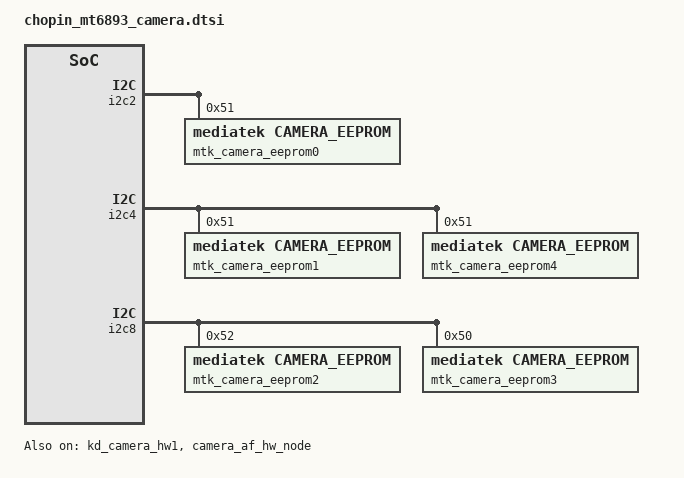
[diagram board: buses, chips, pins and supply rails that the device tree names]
/*
 * Copyright (C) 2015 MediaTek Inc.
 *
 * This program is free software: you can redistribute it and/or modify
 * it under the terms of the GNU General Public License version 2 as
 * published by the Free Software Foundation.
 *
 * This program is distributed in the hope that it will be useful,
 * but WITHOUT ANY WARRANTY; without even the implied warranty of
 * MERCHANTABILITY or FITNESS FOR A PARTICULAR PURPOSE. See the
 * GNU General Public License for more details.
 */

/*
 * Chopin Camera System - Ported from Stock DTBO
 * Complete kd_camera_hw1 fragment with proper sensor configurations
 */

&odm {
	thermal_rename = "charger_therm";
};

&mt_pmic_vcamio_ldo_reg {
	regulator-default-on = <1>;
	status = "okay";
};

/* CAMERA GPIO STANDARDIZATION - Stock Chopin Fragment@25 */
&pio {
	/* CAMERA PINS - GPIO mappings from stock Chopin DTBO */
	camera_pins_cam0_rst_0: cam0_rst0 {
		pins_cmd_dat {
			pinmux = <PINMUX_GPIO145__FUNC_GPIO145>;
			slew-rate = <1>;
			output-low;
		};
	};

	camera_pins_cam0_rst_1: cam0_rst1 {
		pins_cmd_dat {
			pinmux = <PINMUX_GPIO145__FUNC_GPIO145>;
			slew-rate = <1>;
			output-high;
		};
	};

	camera_pins_cam0_pnd_0: cam0_pnd0 {
		pins_cmd_dat {
			pinmux = <PINMUX_GPIO133__FUNC_GPIO133>;
			slew-rate = <1>;
			output-low;
		};
	};

	camera_pins_cam0_pnd_1: cam0_pnd1 {
		pins_cmd_dat {
			pinmux = <PINMUX_GPIO133__FUNC_GPIO133>;
			slew-rate = <1>;
			output-high;
		};
	};

	camera_pins_cam1_rst_0: cam1_rst0 {
		pins_cmd_dat {
			pinmux = <PINMUX_GPIO131__FUNC_GPIO131>;
			slew-rate = <1>;
			output-low;
		};
	};

	camera_pins_cam1_rst_1: cam1_rst1 {
		pins_cmd_dat {
			pinmux = <PINMUX_GPIO131__FUNC_GPIO131>;
			slew-rate = <1>;
			output-high;
		};
	};

	camera_pins_cam1_pnd_0: cam1_pnd0 {
		pins_cmd_dat {
			pinmux = <PINMUX_GPIO133__FUNC_GPIO133>;
			slew-rate = <1>;
			output-low;
		};
	};

	camera_pins_cam1_pnd_1: cam1_pnd1 {
		pins_cmd_dat {
			pinmux = <PINMUX_GPIO133__FUNC_GPIO133>;
			slew-rate = <1>;
			output-high;
		};
	};

	camera_pins_cam2_rst_0: cam2_rst0 {
		pins_cmd_dat {
			pinmux = <PINMUX_GPIO130__FUNC_GPIO130>;
			slew-rate = <1>;
			output-low;
		};
	};

	camera_pins_cam2_rst_1: cam2_rst1 {
		pins_cmd_dat {
			pinmux = <PINMUX_GPIO130__FUNC_GPIO130>;
			slew-rate = <1>;
			output-high;
		};
	};

	camera_pins_cam2_pnd_0: cam2_pnd0 {
		pins_cmd_dat {
			pinmux = <PINMUX_GPIO147__FUNC_GPIO147>;
			slew-rate = <1>;
			output-low;
		};
	};

	camera_pins_cam2_pnd_1: cam2_pnd1 {
		pins_cmd_dat {
			pinmux = <PINMUX_GPIO147__FUNC_GPIO147>;
			slew-rate = <1>;
			output-high;
		};
	};

	camera_pins_cam3_rst_0: cam3_rst0 {
		pins_cmd_dat {
			pinmux = <PINMUX_GPIO144__FUNC_GPIO144>;
			slew-rate = <1>;
			output-low;
		};
	};

	camera_pins_cam3_rst_1: cam3_rst1 {
		pins_cmd_dat {
			pinmux = <PINMUX_GPIO144__FUNC_GPIO144>;
			slew-rate = <1>;
			output-high;
		};
	};

	camera_pins_cam3_pnd_0: cam3_pnd0 {
		pins_cmd_dat {
			pinmux = <PINMUX_GPIO133__FUNC_GPIO133>;
			slew-rate = <1>;
			output-low;
		};
	};

	camera_pins_cam3_pnd_1: cam3_pnd1 {
		pins_cmd_dat {
			pinmux = <PINMUX_GPIO133__FUNC_GPIO133>;
			slew-rate = <1>;
			output-high;
		};
	};

	camera_pins_cam4_rst_0: cam4_rst0 {
		pins_cmd_dat {
			pinmux = <PINMUX_GPIO133__FUNC_GPIO133>;
			slew-rate = <1>;
			output-low;
		};
	};

	camera_pins_cam4_rst_1: cam4_rst1 {
		pins_cmd_dat {
			pinmux = <PINMUX_GPIO133__FUNC_GPIO133>;
			slew-rate = <1>;
			output-high;
		};
	};

	camera_pins_cam4_pnd_0: cam4_pnd0 {
		pins_cmd_dat {
			pinmux = <PINMUX_GPIO133__FUNC_GPIO133>;
			slew-rate = <1>;
			output-low;
		};
	};

	camera_pins_cam4_pnd_1: cam4_pnd1 {
		pins_cmd_dat {
			pinmux = <PINMUX_GPIO133__FUNC_GPIO133>;
			slew-rate = <1>;
			output-high;
		};
	};

	camera_pins_cam0_vcamd_0: cam0_vcamd0 {
		pins_cmd_dat {
			pinmux = <PINMUX_GPIO133__FUNC_GPIO133>;
			slew-rate = <1>;
			output-low;
		};
	};

	camera_pins_cam0_vcamd_1: cam0_vcamd1 {
		pins_cmd_dat {
			pinmux = <PINMUX_GPIO133__FUNC_GPIO133>;
			slew-rate = <1>;
			output-high;
		};
	};

	camera_pins_cam0_vcama_0: cam0_vcama0 {
		pins_cmd_dat {
			pinmux = <PINMUX_GPIO133__FUNC_GPIO133>;
			slew-rate = <1>;
			output-low;
		};
	};

	camera_pins_cam0_vcama_1: cam0_vcama1 {
		pins_cmd_dat {
			pinmux = <PINMUX_GPIO133__FUNC_GPIO133>;
			slew-rate = <1>;
			output-high;
		};
	};

	camera_pins_cam1_vcamd_0: cam1_vcamd0 {
		pins_cmd_dat {
			pinmux = <PINMUX_GPIO133__FUNC_GPIO133>;
			slew-rate = <1>;
			output-low;
		};
	};

	camera_pins_cam1_vcamd_1: cam1_vcamd1 {
		pins_cmd_dat {
			pinmux = <PINMUX_GPIO133__FUNC_GPIO133>;
			slew-rate = <1>;
			output-high;
		};
	};

	camera_pins_cam1_vcama_0: cam1_vcama0 {
		pins_cmd_dat {
			pinmux = <PINMUX_GPIO133__FUNC_GPIO133>;
			slew-rate = <1>;
			output-low;
		};
	};

	camera_pins_cam1_vcama_1: cam1_vcama1 {
		pins_cmd_dat {
			pinmux = <PINMUX_GPIO133__FUNC_GPIO133>;
			slew-rate = <1>;
			output-high;
		};
	};

	camera_pins_cam2_vcamd_0: cam2_vcamd0 {
		pins_cmd_dat {
			pinmux = <PINMUX_GPIO133__FUNC_GPIO133>;
			slew-rate = <1>;
			output-low;
		};
	};

	camera_pins_cam2_vcamd_1: cam2_vcamd1 {
		pins_cmd_dat {
			pinmux = <PINMUX_GPIO133__FUNC_GPIO133>;
			slew-rate = <1>;
			output-high;
		};
	};

	camera_pins_cam2_vcama_0: cam2_vcama0 {
		pins_cmd_dat {
			pinmux = <PINMUX_GPIO133__FUNC_GPIO133>;
			slew-rate = <1>;
			output-low;
		};
	};

	camera_pins_cam2_vcama_1: cam2_vcama1 {
		pins_cmd_dat {
			pinmux = <PINMUX_GPIO133__FUNC_GPIO133>;
			slew-rate = <1>;
			output-high;
		};
	};

	camera_pins_cam3_vcamd_0: cam3_vcamd0 {
		pins_cmd_dat {
			pinmux = <PINMUX_GPIO133__FUNC_GPIO133>;
			slew-rate = <1>;
			output-low;
		};
	};

	camera_pins_cam3_vcamd_1: cam3_vcamd1 {
		pins_cmd_dat {
			pinmux = <PINMUX_GPIO133__FUNC_GPIO133>;
			slew-rate = <1>;
			output-high;
		};
	};

	camera_pins_cam3_vcama_0: cam3_vcama0 {
		pins_cmd_dat {
			pinmux = <PINMUX_GPIO133__FUNC_GPIO133>;
			slew-rate = <1>;
			output-low;
		};
	};

	camera_pins_cam3_vcama_1: cam3_vcama1 {
		pins_cmd_dat {
			pinmux = <PINMUX_GPIO133__FUNC_GPIO133>;
			slew-rate = <1>;
			output-high;
		};
	};

	camera_pins_cam4_vcamd_0: cam4_vcamd0 {
		pins_cmd_dat {
			pinmux = <PINMUX_GPIO133__FUNC_GPIO133>;
			slew-rate = <1>;
			output-low;
		};
	};

	camera_pins_cam4_vcamd_1: cam4_vcamd1 {
		pins_cmd_dat {
			pinmux = <PINMUX_GPIO133__FUNC_GPIO133>;
			slew-rate = <1>;
			output-high;
		};
	};

	camera_pins_cam4_vcama_0: cam4_vcama0 {
		pins_cmd_dat {
			pinmux = <PINMUX_GPIO133__FUNC_GPIO133>;
			slew-rate = <1>;
			output-low;
		};
	};

	camera_pins_cam4_vcama_1: cam4_vcama1 {
		pins_cmd_dat {
			pinmux = <PINMUX_GPIO133__FUNC_GPIO133>;
			slew-rate = <1>;
			output-high;
		};
	};

	/* Master Clock Pins */
	camera_pins_cam0_mclk_off: cam0_mclk_off {
		pins_cmd_dat {
			pinmux = <PINMUX_GPIO149__FUNC_GPIO149>;
			slew-rate = <0>;
			output-low;
		};
	};

	camera_pins_cam0_mclk_2ma: cam0_mclk_2ma {
		pins_cmd_dat {
			pinmux = <PINMUX_GPIO149__FUNC_CMMCLK0>;
			drive-strength = <2>;
		};
	};

	camera_pins_cam0_mclk_4ma: cam0_mclk_4ma {
		pins_cmd_dat {
			pinmux = <PINMUX_GPIO149__FUNC_CMMCLK0>;
			drive-strength = <3>;
		};
	};

	camera_pins_cam0_mclk_6ma: cam0_mclk_6ma {
		pins_cmd_dat {
			pinmux = <PINMUX_GPIO149__FUNC_CMMCLK0>;
			drive-strength = <3>;
		};
	};

	camera_pins_cam0_mclk_8ma: cam0_mclk_8ma {
		pins_cmd_dat {
			pinmux = <PINMUX_GPIO149__FUNC_CMMCLK0>;
			drive-strength = <3>;
		};
	};

	camera_pins_cam1_mclk_off: cam1_mclk_off {
		pins_cmd_dat {
			pinmux = <PINMUX_GPIO137__FUNC_GPIO137>;
			slew-rate = <0>;
			output-low;
		};
	};

	camera_pins_cam1_mclk_2ma: cam1_mclk_2ma {
		pins_cmd_dat {
			pinmux = <PINMUX_GPIO137__FUNC_CMMCLK4>;
			drive-strength = <2>;
		};
	};

	camera_pins_cam1_mclk_4ma: cam1_mclk_4ma {
		pins_cmd_dat {
			pinmux = <PINMUX_GPIO137__FUNC_CMMCLK4>;
			drive-strength = <3>;
		};
	};

	camera_pins_cam1_mclk_6ma: cam1_mclk_6ma {
		pins_cmd_dat {
			pinmux = <PINMUX_GPIO137__FUNC_CMMCLK4>;
			drive-strength = <3>;
		};
	};

	camera_pins_cam1_mclk_8ma: cam1_mclk_8ma {
		pins_cmd_dat {
			pinmux = <PINMUX_GPIO137__FUNC_CMMCLK4>;
			drive-strength = <3>;
		};
	};

	camera_pins_cam2_mclk_off: cam2_mclk_off {
		pins_cmd_dat {
			pinmux = <PINMUX_GPIO136__FUNC_GPIO136>;
			slew-rate = <0>;
			output-low;
		};
	};

	camera_pins_cam2_mclk_2ma: cam2_mclk_2ma {
		pins_cmd_dat {
			pinmux = <PINMUX_GPIO136__FUNC_CMMCLK3>;
			drive-strength = <2>;
		};
	};

	camera_pins_cam2_mclk_4ma: cam2_mclk_4ma {
		pins_cmd_dat {
			pinmux = <PINMUX_GPIO136__FUNC_CMMCLK3>;
			drive-strength = <3>;
		};
	};

	camera_pins_cam2_mclk_6ma: cam2_mclk_6ma {
		pins_cmd_dat {
			pinmux = <PINMUX_GPIO136__FUNC_CMMCLK3>;
			drive-strength = <3>;
		};
	};

	camera_pins_cam2_mclk_8ma: cam2_mclk_8ma {
		pins_cmd_dat {
			pinmux = <PINMUX_GPIO136__FUNC_CMMCLK3>;
			drive-strength = <3>;
		};
	};

	camera_pins_cam3_mclk_off: cam3_mclk_off {
		pins_cmd_dat {
			pinmux = <PINMUX_GPIO151__FUNC_GPIO151>;
			slew-rate = <0>;
			output-low;
		};
	};

	camera_pins_cam3_mclk_2ma: cam3_mclk_2ma {
		pins_cmd_dat {
			pinmux = <PINMUX_GPIO151__FUNC_CMMCLK2>;
			drive-strength = <2>;
		};
	};

	camera_pins_cam3_mclk_4ma: cam3_mclk_4ma {
		pins_cmd_dat {
			pinmux = <PINMUX_GPIO151__FUNC_CMMCLK2>;
			drive-strength = <3>;
		};
	};

	camera_pins_cam3_mclk_6ma: cam3_mclk_6ma {
		pins_cmd_dat {
			pinmux = <PINMUX_GPIO151__FUNC_CMMCLK2>;
			drive-strength = <3>;
		};
	};

	camera_pins_cam3_mclk_8ma: cam3_mclk_8ma {
		pins_cmd_dat {
			pinmux = <PINMUX_GPIO151__FUNC_CMMCLK2>;
			drive-strength = <3>;
		};
	};

	camera_pins_cam4_mclk_off: cam4_mclk_off {
		pins_cmd_dat {
			pinmux = <PINMUX_GPIO151__FUNC_GPIO151>;
			slew-rate = <0>;
			output-low;
		};
	};

	camera_pins_cam4_mclk_2ma: cam4_mclk_2ma {
		pins_cmd_dat {
			pinmux = <PINMUX_GPIO151__FUNC_CMMCLK2>;
			drive-strength = <2>;
		};
	};

	camera_pins_cam4_mclk_4ma: cam4_mclk_4ma {
		pins_cmd_dat {
			pinmux = <PINMUX_GPIO151__FUNC_CMMCLK2>;
			drive-strength = <3>;
		};
	};

	camera_pins_cam4_mclk_6ma: cam4_mclk_6ma {
		pins_cmd_dat {
			pinmux = <PINMUX_GPIO151__FUNC_CMMCLK2>;
			drive-strength = <3>;
		};
	};

	camera_pins_cam4_mclk_8ma: cam4_mclk_8ma {
		pins_cmd_dat {
			pinmux = <PINMUX_GPIO151__FUNC_CMMCLK2>;
			drive-strength = <3>;
		};
	};

	camera_pins_default: camdefault {
	};
};

/* MAIN CAMERA HARDWARE CONFIGURATION - Stock Chopin Fragment@26 */
&kd_camera_hw1 {
	cam0_vcamio-supply = <&mt_pmic_vcamio_ldo_reg>;
	cam1_vcamio-supply = <&mt_pmic_vcamio_ldo_reg>;
	cam2_vcamio-supply = <&mt_pmic_vcamio_ldo_reg>;
	cam3_vcamio-supply = <&mt_pmic_vcamio_ldo_reg>;

	/* Power Supplies - Mix of wl2866d1 and wl2866d2 regulators */
	cam0_vcamd-supply = <&wl2866d1_dvdd2>;
	cam0_vcama-supply = <&wl2866d1_avdd1>;
	cam1_vcamd-supply = <&wl2866d1_dvdd1>;
	cam1_vcama-supply = <&wl2866d1_avdd2>;
	cam2_vcama-supply = <&wl2866d2_avdd1>;
	cam3_vcamd-supply = <&wl2866d2_dvdd1>;
	cam3_vcama-supply = <&wl2866d2_avdd1>;

	/* Sensor Configurations - Stock Chopin sensors */
	cam0_enable_sensor = "ov64b40sunny_mipi_raw";
	cam1_enable_sensor = "ov16a1qofilm_mipi_raw";
	cam2_enable_sensor = "gc02m1sunny_mipi_raw";
	cam3_enable_sensor = "imx355sunny_mipi_raw";

	pinctrl-names = "default",
			"cam0_rst0", "cam0_rst1",
			"cam0_pnd0", "cam0_pnd1",
			"cam1_rst0", "cam1_rst1",
			"cam1_pnd0", "cam1_pnd1",
			"cam2_rst0", "cam2_rst1",
			"cam2_pnd0", "cam2_pnd1",
			"cam3_rst0", "cam3_rst1",
			"cam3_pnd0", "cam3_pnd1",
			"cam4_rst0", "cam4_rst1",
			"cam4_pnd0", "cam4_pnd1",
			"cam0_mclk_off",
			"cam0_mclk_2mA", "cam0_mclk_4mA",
			"cam0_mclk_6mA", "cam0_mclk_8mA",
			"cam1_mclk_off",
			"cam1_mclk_2mA", "cam1_mclk_4mA",
			"cam1_mclk_6mA", "cam1_mclk_8mA",
			"cam2_mclk_off",
			"cam2_mclk_2mA", "cam2_mclk_4mA",
			"cam2_mclk_6mA", "cam2_mclk_8mA",
			"cam3_mclk_off",
			"cam3_mclk_2mA", "cam3_mclk_4mA",
			"cam3_mclk_6mA", "cam3_mclk_8mA",
			"cam4_mclk_off",
			"cam4_mclk_2mA", "cam4_mclk_4mA",
			"cam4_mclk_6mA", "cam4_mclk_8mA";

	pinctrl-0 = <&camera_pins_default>;
	pinctrl-1 = <&camera_pins_cam0_rst_0>;
	pinctrl-2 = <&camera_pins_cam0_rst_1>;
	pinctrl-3 = <&camera_pins_cam0_pnd_0>;
	pinctrl-4 = <&camera_pins_cam0_pnd_1>;
	pinctrl-5 = <&camera_pins_cam1_rst_0>;
	pinctrl-6 = <&camera_pins_cam1_rst_1>;
	pinctrl-7 = <&camera_pins_cam1_pnd_0>;
	pinctrl-8 = <&camera_pins_cam1_pnd_1>;
	pinctrl-9 = <&camera_pins_cam2_rst_0>;
	pinctrl-10 = <&camera_pins_cam2_rst_1>;
	pinctrl-11 = <&camera_pins_cam2_pnd_0>;
	pinctrl-12 = <&camera_pins_cam2_pnd_1>;
	pinctrl-13 = <&camera_pins_cam3_rst_0>;
	pinctrl-14 = <&camera_pins_cam3_rst_1>;
	pinctrl-15 = <&camera_pins_cam3_pnd_0>;
	pinctrl-16 = <&camera_pins_cam3_pnd_1>;
	pinctrl-17 = <&camera_pins_cam4_rst_0>;
	pinctrl-18 = <&camera_pins_cam4_rst_1>;
	pinctrl-19 = <&camera_pins_cam4_pnd_0>;
	pinctrl-20 = <&camera_pins_cam4_pnd_1>;
	pinctrl-21 = <&camera_pins_cam0_vcamd_0>;
	pinctrl-22 = <&camera_pins_cam0_vcamd_1>;
	pinctrl-23 = <&camera_pins_cam0_vcama_0>;
	pinctrl-24 = <&camera_pins_cam0_vcama_1>;
	pinctrl-25 = <&camera_pins_cam1_vcamd_0>;
	pinctrl-26 = <&camera_pins_cam1_vcamd_1>;
	pinctrl-27 = <&camera_pins_cam1_vcama_0>;
	pinctrl-28 = <&camera_pins_cam1_vcama_1>;
	pinctrl-29 = <&camera_pins_cam2_vcamd_0>;
	pinctrl-30 = <&camera_pins_cam2_vcamd_1>;
	pinctrl-31 = <&camera_pins_cam2_vcama_0>;
	pinctrl-32 = <&camera_pins_cam2_vcama_1>;
	pinctrl-33 = <&camera_pins_cam3_vcamd_0>;
	pinctrl-34 = <&camera_pins_cam3_vcamd_1>;
	pinctrl-35 = <&camera_pins_cam3_vcama_0>;
	pinctrl-36 = <&camera_pins_cam3_vcama_1>;
	pinctrl-37 = <&camera_pins_cam4_vcamd_0>;
	pinctrl-38 = <&camera_pins_cam4_vcamd_1>;
	pinctrl-39 = <&camera_pins_cam4_vcama_0>;
	pinctrl-40 = <&camera_pins_cam4_vcama_1>;
	pinctrl-41 = <&camera_pins_cam0_mclk_off>;
	pinctrl-42 = <&camera_pins_cam0_mclk_2ma>;
	pinctrl-43 = <&camera_pins_cam0_mclk_4ma>;
	pinctrl-44 = <&camera_pins_cam0_mclk_6ma>;
	pinctrl-45 = <&camera_pins_cam0_mclk_8ma>;
	pinctrl-46 = <&camera_pins_cam1_mclk_off>;
	pinctrl-47 = <&camera_pins_cam1_mclk_2ma>;
	pinctrl-48 = <&camera_pins_cam1_mclk_4ma>;
	pinctrl-49 = <&camera_pins_cam1_mclk_6ma>;
	pinctrl-50 = <&camera_pins_cam1_mclk_8ma>;
	pinctrl-51 = <&camera_pins_cam2_mclk_off>;
	pinctrl-52 = <&camera_pins_cam2_mclk_2ma>;
	pinctrl-53 = <&camera_pins_cam2_mclk_4ma>;
	pinctrl-54 = <&camera_pins_cam2_mclk_6ma>;
	pinctrl-55 = <&camera_pins_cam2_mclk_8ma>;
	pinctrl-56 = <&camera_pins_cam3_mclk_off>;
	pinctrl-57 = <&camera_pins_cam3_mclk_2ma>;
	pinctrl-58 = <&camera_pins_cam3_mclk_4ma>;
	pinctrl-59 = <&camera_pins_cam3_mclk_6ma>;
	pinctrl-60 = <&camera_pins_cam3_mclk_8ma>;
	pinctrl-61 = <&camera_pins_cam4_mclk_off>;
	pinctrl-62 = <&camera_pins_cam4_mclk_2ma>;
	pinctrl-63 = <&camera_pins_cam4_mclk_4ma>;
	pinctrl-64 = <&camera_pins_cam4_mclk_6ma>;
	pinctrl-65 = <&camera_pins_cam4_mclk_8ma>;

	status = "okay";
};

&i2c2 {
	mtk_camera_eeprom0: camera_eeprom0@51 {
		compatible = "mediatek,camera_eeprom";
		reg = <0x51>;
		status = "okay";
	};
};

&i2c4 {
	mtk_camera_eeprom1: camera_eeprom1@51 {
		compatible = "mediatek,camera_eeprom";
		reg = <0x51>;
		status = "okay";
	};

	mtk_camera_eeprom4: camera_eeprom4@51 {
		compatible = "mediatek,camera_eeprom";
		reg = <0x51>;
		status = "okay";
	};
};

&i2c8 {
	mtk_camera_eeprom2: camera_eeprom2@52 {
		compatible = "mediatek,camera_eeprom";
		reg = <0x52>;
		status = "okay";
	};

	mtk_camera_eeprom3: camera_eeprom3@50 {
		compatible = "mediatek,camera_eeprom";
		reg = <0x50>;
		status = "okay";
	};
};

&camera_af_hw_node {
	vcamwaf-supply = <&wl2866d2_avdd2>;
	status = "okay";
};
